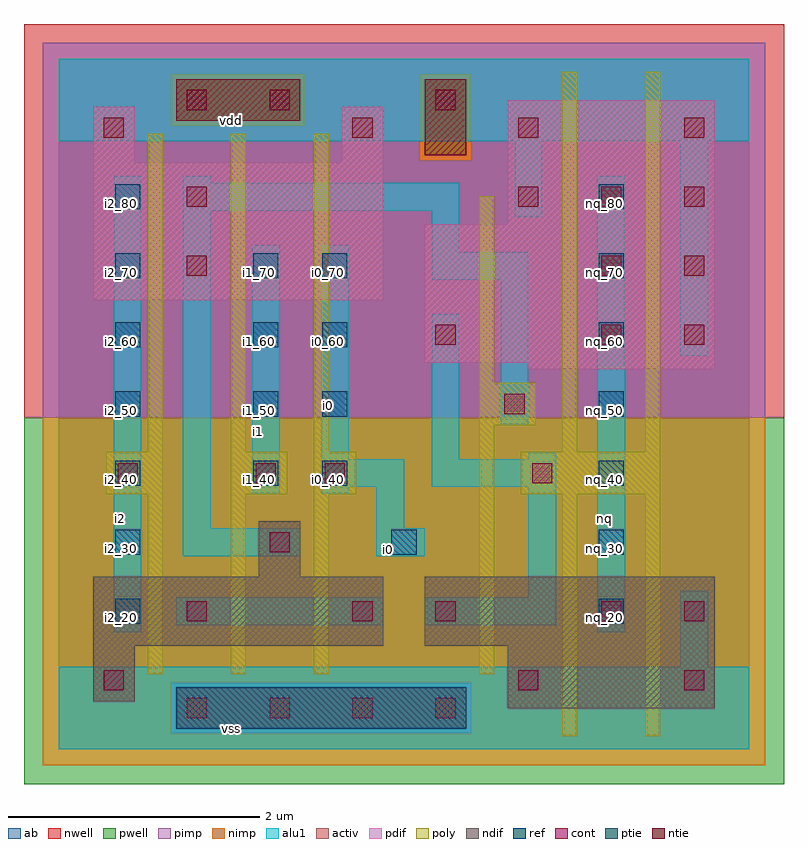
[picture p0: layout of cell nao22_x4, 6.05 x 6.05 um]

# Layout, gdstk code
import gdstk
lib = gdstk.Library(unit=1e-6, precision=2.5e-09)
def R(c, l, rs):  # rectangles x0, y0, x1, y1
    for r in rs: c.add(gdstk.rectangle(r[:2], r[2:], *l))
def A(c, l, x, y, w, h, nx, ny, dx, dy):  # array of equal rectangles
    R(c, l, [(x+i*dx, y+j*dy, x+i*dx+w, y+j*dy+h) for i in range(nx) for j in range(ny)])
ndif = (3, 0)
pdif = (4, 0)
ntie = (5, 0)
ptie = (6, 0)
ref = (24, 0)
cont = (25, 0)
pwell = (41, 0)
nwell = (42, 0)
activ = (43, 0)
pimp = (44, 0)
nimp = (45, 0)
poly = (46, 0)
alu1 = (49, 0)
ab = (63, 0)

nao22_x4 = lib.new_cell('nao22_x4')
R(nao22_x4, ndif, [(3.575,0.33,5.225,0.825), (0.275,0.385,0.605,0.825), (0.275,0.825,2.585,1.375), (2.915,0.825,5.225,1.375), (1.595,1.375,1.925,1.815)])
R(nao22_x4, pdif, [(3.74,3.025,5.225,3.08), (2.915,3.08,5.225,4.18), (0.275,3.575,2.585,4.675), (3.575,4.18,5.225,5.17), (0.275,4.675,0.605,5.115), (2.255,4.675,2.585,5.115)])
R(nao22_x4, ntie, [(2.915,4.73,3.245,5.335), (0.935,5.005,1.925,5.335)])
R(nao22_x4, ptie, [(0.935,0.165,3.245,0.495)])
A(nao22_x4, ref, 0.45, 1, 0.2, 0.2, 1, 7, 0, 0.55)
A(nao22_x4, ref, 4.3, 1, 0.2, 0.2, 1, 7, 0, 0.55)
A(nao22_x4, ref, 1.55, 2.1, 0.2, 0.2, 1, 4, 0, 0.55)
A(nao22_x4, ref, 2.1, 2.1, 0.2, 0.2, 1, 4, 0, 0.55)
R(nao22_x4, ref, [(2.65,1.55,2.85,1.75)])
A(nao22_x4, cont, 1.02, 0.25, 0.16, 0.16, 4, 1, 0.66, 0)
A(nao22_x4, cont, 3.66, 4.32, 0.16, 0.16, 3, 1, 0.66, 0)
A(nao22_x4, cont, 2.34, 4.87, 0.16, 0.16, 3, 1, 1.32, 0)
R(nao22_x4, cont, [(0.36,0.47,0.52,0.63), (3.66,0.47,3.82,0.63), (4.98,0.47,5.14,0.63), (1.02,1.02,1.18,1.18), (2.34,1.02,2.5,1.18), (3,1.02,3.16,1.18), (4.32,1.02,4.48,1.18), (4.98,1.02,5.14,1.18), (1.68,1.57,1.84,1.73), (0.47,2.12,0.63,2.28), (1.57,2.12,1.73,2.28), (2.12,2.12,2.28,2.28), (3.77,2.12,3.93,2.28), (3.55,2.67,3.71,2.83), (3,3.22,3.16,3.38), (4.32,3.22,4.48,3.38), (4.98,3.22,5.14,3.38), (1.02,3.77,1.18,3.93), (4.32,3.77,4.48,3.93), (4.98,3.77,5.14,3.93), (1.02,4.32,1.18,4.48), (0.36,4.87,0.52,5.03), (1.02,5.09,1.18,5.25), (1.68,5.09,1.84,5.25), (3,5.09,3.16,5.25)])
R(nao22_x4, pwell, [(-0.275,-0.275,5.775,2.64)])
R(nao22_x4, nwell, [(-0.275,2.64,5.775,5.775)])
R(nao22_x4, activ, [(0.935,0.165,3.245,0.495), (3.575,0.33,5.225,0.825), (0.275,0.385,0.605,0.825), (0.275,0.825,2.585,1.375), (2.915,0.825,5.225,1.375), (1.595,1.375,1.925,1.815), (3.74,3.025,5.225,3.08), (2.915,3.08,5.225,4.18), (0.275,3.575,2.585,4.675), (3.575,4.18,5.225,5.17), (0.275,4.675,0.605,5.115), (2.255,4.675,2.585,5.115), (2.915,4.73,3.245,5.335), (0.935,5.005,1.925,5.335)])
R(nao22_x4, pimp, [(0.895,0.125,3.285,0.535), (-0.125,2.64,5.625,4.69), (-0.125,4.69,2.875,4.965), (3.285,4.69,5.625,5.375), (-0.125,4.965,0.895,5.375), (1.965,4.965,2.875,5.375), (-0.125,5.375,5.625,5.625)])
R(nao22_x4, nimp, [(-0.125,-0.125,5.625,0.125), (-0.125,0.125,0.895,0.535), (3.285,0.125,5.625,0.535), (-0.125,0.535,5.625,2.64), (2.875,4.69,3.285,5.375), (0.895,4.965,1.965,5.375)])
A(nao22_x4, poly, 0.71, 0.6, 0.12, 1.43, 3, 1, 0.66, 0)
A(nao22_x4, poly, 0.71, 2.37, 0.12, 2.53, 3, 1, 0.66, 0)
R(nao22_x4, poly, [(4.01,0.105,4.13,2.03), (4.67,0.105,4.79,2.03), (3.35,0.6,3.47,2.58), (0.38,2.03,0.83,2.37), (1.37,2.03,1.82,2.37), (2.03,2.03,2.37,2.37), (3.68,2.03,4.79,2.37), (4.01,2.37,4.13,5.395), (4.67,2.37,4.79,5.395), (3.35,2.58,3.8,2.92), (3.35,2.92,3.47,4.405)])
R(nao22_x4, alu1, [(0,0,5.5,0.66), (4.95,0.66,5.17,1.265), (0.44,0.935,0.66,4.565), (4.29,0.935,4.51,4.565), (0.935,0.99,2.585,1.21), (2.915,0.99,3.96,1.21), (3.74,1.21,3.96,2.09), (0.99,1.54,1.925,1.76), (2.53,1.54,2.915,1.76), (0.99,1.76,1.21,4.29), (2.53,1.76,2.75,2.09), (1.54,2.035,1.76,4.015), (2.09,2.035,2.31,2.09), (2.09,2.09,2.75,2.31), (2.97,2.09,3.96,2.31), (2.09,2.31,2.31,4.015), (2.97,2.31,3.19,3.465), (3.74,2.31,3.96,2.365), (3.52,2.585,3.74,3.74), (4.95,3.135,5.17,4.84), (2.97,3.74,3.74,3.96), (2.97,3.96,3.19,4.29), (3.63,4.235,3.85,4.84), (0.99,4.29,3.19,4.51), (0.99,4.51,1.21,4.565), (0,4.84,5.5,5.5)])
R(nao22_x4, ab, [(0,0,5.5,5.5)])
nao22_x4.add(gdstk.Label('vss', (1.375,0.165), layer=49, texttype=0))
nao22_x4.add(gdstk.Label('nq', (4.345,1.8425), layer=49, texttype=0))
nao22_x4.add(gdstk.Label('i0', (2.625,1.595), layer=49, texttype=0))
nao22_x4.add(gdstk.Label('i0', (2.145,2.735), layer=49, texttype=0))
nao22_x4.add(gdstk.Label('i1', (1.595,2.53), layer=49, texttype=0))
nao22_x4.add(gdstk.Label('i2', (0.495,1.8425), layer=49, texttype=0))
nao22_x4.add(gdstk.Label('vdd', (1.375,5.005), layer=49, texttype=0))
nao22_x4.add(gdstk.Label('i2_20', (0.5,1.05), layer=24, texttype=0))
nao22_x4.add(gdstk.Label('i2_30', (0.5,1.6), layer=24, texttype=0))
nao22_x4.add(gdstk.Label('i2_50', (0.5,2.7), layer=24, texttype=0))
nao22_x4.add(gdstk.Label('i2_60', (0.5,3.25), layer=24, texttype=0))
nao22_x4.add(gdstk.Label('nq_70', (4.35,3.8), layer=24, texttype=0))
nao22_x4.add(gdstk.Label('nq_60', (4.35,3.25), layer=24, texttype=0))
nao22_x4.add(gdstk.Label('nq_40', (4.35,2.15), layer=24, texttype=0))
nao22_x4.add(gdstk.Label('nq_20', (4.35,1.05), layer=24, texttype=0))
nao22_x4.add(gdstk.Label('nq_30', (4.35,1.6), layer=24, texttype=0))
nao22_x4.add(gdstk.Label('nq_50', (4.35,2.7), layer=24, texttype=0))
nao22_x4.add(gdstk.Label('i0_40', (2.15,2.15), layer=24, texttype=0))
nao22_x4.add(gdstk.Label('i0_50', (2.15,2.7), layer=24, texttype=0))
nao22_x4.add(gdstk.Label('i0_60', (2.15,3.25), layer=24, texttype=0))
nao22_x4.add(gdstk.Label('i1_60', (1.6,3.25), layer=24, texttype=0))
nao22_x4.add(gdstk.Label('i1_50', (1.6,2.7), layer=24, texttype=0))
nao22_x4.add(gdstk.Label('i1_40', (1.6,2.15), layer=24, texttype=0))
nao22_x4.add(gdstk.Label('i2_40', (0.5,2.15), layer=24, texttype=0))
nao22_x4.add(gdstk.Label('i0_70', (2.15,3.8), layer=24, texttype=0))
nao22_x4.add(gdstk.Label('i1_70', (1.6,3.8), layer=24, texttype=0))
nao22_x4.add(gdstk.Label('i2_70', (0.5,3.8), layer=24, texttype=0))
nao22_x4.add(gdstk.Label('i2_80', (0.5,4.35), layer=24, texttype=0))
nao22_x4.add(gdstk.Label('nq_80', (4.35,4.35), layer=24, texttype=0))
nao22_x4.add(gdstk.Label('i0_30', (2.7,1.6), layer=24, texttype=0))

lib.write_gds('nao22_x4.gds')
